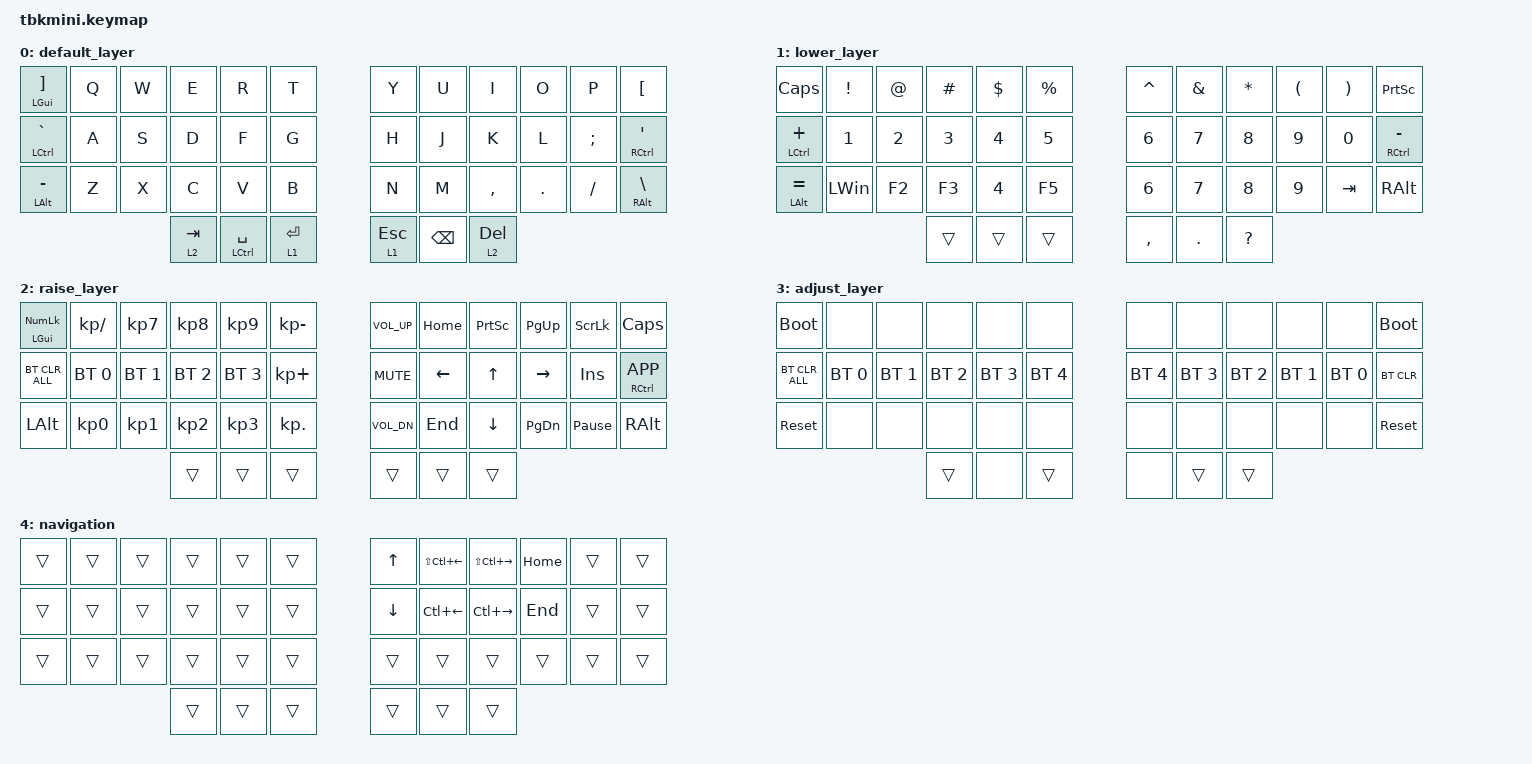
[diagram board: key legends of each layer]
/*
 * Copyright (c) 2020 The ZMK Contributors
 *
 * SPDX-License-Identifier: MIT
 */

#include <behaviors.dtsi>
#include <dt-bindings/zmk/bt.h>
#include <dt-bindings/zmk/keys.h>

#define DEF 0
#define LWR 1
#define RSE 2
#define ADJ 3
#define NAV 4

&lt { quick-tap-ms = <200>; };

&mt { quick-tap-ms = <200>; };

/ {
    conditional_layers {
        compatible = "zmk,conditional-layers";

        tri-layer {
            if-layers = <1 2>;
            then-layer = <3>;
        };

        tri-layer1 {
            if-layers = <4 1>;
            then-layer = <3>;
        };
    };

    keymap {
        compatible = "zmk,keymap";

        default_layer {
            bindings = <
&mt LGUI RBKT    &kp Q  &kp W  &kp E      &kp R            &kp T        &kp Y      &kp U          &kp I      &kp O    &kp P     &kp LBKT
&mt LCTRL GRAVE  &kp A  &kp S  &kp D      &kp F            &kp G        &kp H      &kp J          &kp K      &kp L    &kp SEMI  &mt RCTRL SQT
&mt LALT MINUS   &kp Z  &kp X  &kp C      &kp V            &kp B        &kp N      &kp M          &kp COMMA  &kp DOT  &kp FSLH  &mt RALT BSLH
                               &lt 2 TAB  &mt LCTRL SPACE  &lt 1 RET    &lt 1 ESC  &kp BACKSPACE  &lt 2 DEL
            >;
        };

        lower_layer {
            bindings = <
&kp CAPS        &kp EXCLAMATION  &kp AT_SIGN   &kp HASH      &kp DOLLAR    &kp PERCENT    &kp CARET     &kp AMPERSAND  &kp ASTERISK  &kp LEFT_PARENTHESIS  &kp RIGHT_PARENTHESIS  &kp PRINTSCREEN
&mt LCTRL PLUS  &kp NUMBER_1     &kp NUMBER_2  &kp NUMBER_3  &kp NUMBER_4  &kp N5         &kp NUMBER_6  &kp N7         &kp N8        &kp N9                &kp N0                 &mt RCTRL MINUS
&mt LALT EQUAL  &kp LEFT_WIN     &kp F2        &kp F3        &kp N4        &kp F5         &kp N6        &kp N7         &kp N8        &kp N9                &kp TAB                &kp RALT
                                               &trans        &trans        &trans         &kp COMMA     &kp DOT        &kp QUESTION
            >;
        };

        raise_layer {
            bindings = <
&mt LGUI KP_NUM  &kp KP_SLASH  &kp KP_N7     &kp KP_N8     &kp KP_N9     &kp KP_MINUS    &kp C_VOL_UP  &kp HOME  &kp PSCRN  &kp PG_UP  &kp SLCK         &kp CLCK
&bt BT_CLR_ALL   &bt BT_SEL 0  &bt BT_SEL 1  &bt BT_SEL 2  &bt BT_SEL 3  &kp KP_PLUS     &kp C_MUTE    &kp LEFT  &kp UP     &kp RIGHT  &kp INS          &mt RCTRL K_APP
&kp LALT         &kp KP_N0     &kp KP_N1     &kp KP_N2     &kp KP_N3     &kp KP_DOT      &kp C_VOL_DN  &kp END   &kp DOWN   &kp PG_DN  &kp PAUSE_BREAK  &kp RALT
                                             &trans        &trans        &trans          &trans        &trans    &trans
            >;
        };

        adjust_layer {
            bindings = <
&bootloader     &none         &none         &none         &none         &none           &none         &none         &none         &none         &none         &bootloader
&bt BT_CLR_ALL  &bt BT_SEL 0  &bt BT_SEL 1  &bt BT_SEL 2  &bt BT_SEL 3  &bt BT_SEL 4    &bt BT_SEL 4  &bt BT_SEL 3  &bt BT_SEL 2  &bt BT_SEL 1  &bt BT_SEL 0  &bt BT_CLR
&sys_reset      &none         &none         &none         &none         &none           &none         &none         &none         &none         &none         &sys_reset
                                            &trans        &none         &trans          &none         &trans        &trans
            >;
        };

        navigation {
            bindings = <
&trans  &trans  &trans  &trans  &trans  &trans    &kp UP    &kp LS(LC(LEFT_ARROW))  &kp LS(LC(RIGHT))  &kp HOME  &trans  &trans
&trans  &trans  &trans  &trans  &trans  &trans    &kp DOWN  &kp LC(LEFT)            &kp LC(RIGHT)      &kp END   &trans  &trans
&trans  &trans  &trans  &trans  &trans  &trans    &trans    &trans                  &trans             &trans    &trans  &trans
                        &trans  &trans  &trans    &trans    &trans                  &trans
            >;
        };
    };
};
